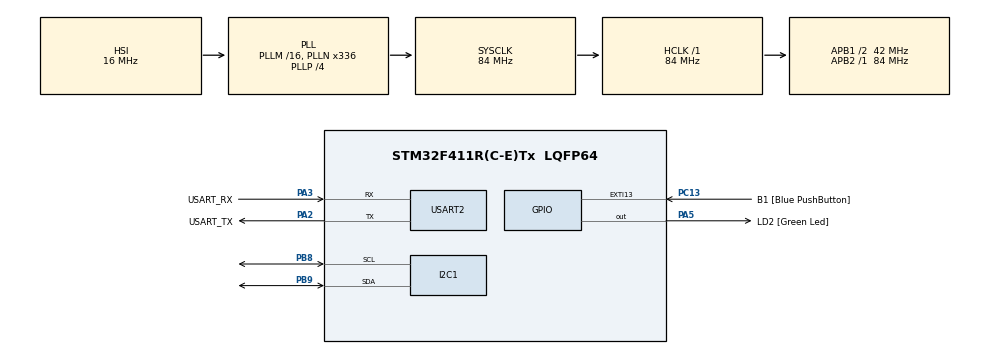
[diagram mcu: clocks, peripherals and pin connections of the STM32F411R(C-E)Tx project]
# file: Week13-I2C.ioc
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I2C1.I2C_Mode=I2C_Fast
Mcu.Family=STM32F4
Mcu.Name=STM32F411R(C-E)Tx
Mcu.Package=LQFP64
NVIC.I2C1_ER_IRQn=true\:0\:0\:false\:false\:true\:true\:true
NVIC.I2C1_EV_IRQn=true\:0\:0\:false\:false\:true\:true\:true
NVIC.PriorityGroup=NVIC_PRIORITYGROUP_0
PA13.GPIO_Label=TMS
PA13.Mode=Serial_Wire
PA13.Signal=SYS_JTMS-SWDIO
PA14.GPIO_Label=TCK
PA14.Mode=Serial_Wire
PA14.Signal=SYS_JTCK-SWCLK
PA2.GPIO_Label=USART_TX
PA2.Mode=Asynchronous
PA2.Signal=USART2_TX
PA3.GPIO_Label=USART_RX
PA3.Mode=Asynchronous
PA3.Signal=USART2_RX
PA5.GPIO_Label=LD2 [Green Led]
PA5.Signal=GPIO_Output
PB3.GPIO_Label=SWO
PB3.Signal=SYS_JTDO-SWO
PB8.Mode=I2C
PB8.Signal=I2C1_SCL
PB9.Mode=I2C
PB9.Signal=I2C1_SDA
PC13-ANTI_TAMP.GPIO_Label=B1 [Blue PushButton]
PC13-ANTI_TAMP.GPIO_ModeDefaultEXTI=GPIO_MODE_IT_FALLING
PC13-ANTI_TAMP.Signal=GPXTI13
PC14-OSC32_IN.Mode=LSE-External-Oscillator
PC14-OSC32_IN.Signal=RCC_OSC32_IN
PC15-OSC32_OUT.Mode=LSE-External-Oscillator
PC15-OSC32_OUT.Signal=RCC_OSC32_OUT
PH0\ -\ OSC_IN.Mode=HSE-External-Clock-Source
PH0\ -\ OSC_IN.Signal=RCC_OSC_IN
PH1\ -\ OSC_OUT.Mode=HSE-External-Clock-Source
PH1\ -\ OSC_OUT.Signal=RCC_OSC_OUT
ProjectManager.HeapSize=0x200
ProjectManager.StackSize=0x400
ProjectManager.TargetToolchain=STM32CubeIDE
RCC.48MHZClocksFreq_Value=84000000
RCC.AHBFreq_Value=84000000
RCC.APB1CLKDivider=RCC_HCLK_DIV2
RCC.APB1Freq_Value=42000000
RCC.APB1TimFreq_Value=84000000
RCC.APB2Freq_Value=84000000
RCC.APB2TimFreq_Value=84000000
RCC.CortexFreq_Value=84000000
RCC.FLatency-AdvancedSettings=FLASH_LATENCY_2
RCC.HCLKFreq_Value=84000000
RCC.HSE_VALUE=8000000
RCC.HSI_VALUE=16000000
RCC.PLLN=336
RCC.PLLP=RCC_PLLP_DIV4
RCC.SYSCLKFreq_VALUE=84000000
RCC.SYSCLKSource=RCC_SYSCLKSOURCE_PLLCLK
RCC.VCOOutputFreq_Value=336000000
USART2.VirtualMode=VM_ASYNC
board=NUCLEO-F411RE

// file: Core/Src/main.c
/* USER CODE BEGIN Header */
/**
 ******************************************************************************
 * @file           : main.c
 * @brief          : Main program body
 ******************************************************************************
 * @attention
 *
 * <h2><center>&copy; Copyright (c) 2021 STMicroelectronics.
 * All rights reserved.</center></h2>
 *
 * This software component is licensed by ST under BSD 3-Clause license,
 * the "License"; You may not use this file except in compliance with the
 * License. You may obtain a copy of the License at:
 *                        opensource.org/licenses/BSD-3-Clause
 *
 ******************************************************************************
 */
/* USER CODE END Header */
#include "main.h"

/* USER CODE BEGIN PD */
#define EEPROM_ADDR 0b10100000
#define IOEXPD_ADDR 0b01000000
/* USER CODE END PD */

I2C_HandleTypeDef hi2c1;

UART_HandleTypeDef huart2;

/* USER CODE BEGIN PV */
uint8_t eepromExampleWriteFlag = 0;
uint8_t eepromExampleReadFlag = 0;
uint8_t IOExpdrExampleWriteFlag = 1;
uint8_t IOExpdrExampleReadFlag = 0;
uint8_t eepromDataReadBack[4];
uint8_t IOExpdrDataReadBack;
GPIO_PinState Switchz[1];
uint8_t IOExpdrDataWrite = 0b01010101;
/* USER CODE END PV */

void SystemClock_Config(void);
static void MX_GPIO_Init(void);
static void MX_USART2_UART_Init(void);
static void MX_I2C1_Init(void);
/* USER CODE BEGIN PFP */
void EEPROMWriteExample();
void EEPROMReadExample(uint8_t *Rdata, uint16_t len);

void IOExpenderInit();
void IOExpenderReadPinA(uint8_t *Rdata);
void IOExpenderWritePinB(uint8_t Wdata);

/* USER CODE END PFP */

int main(void)
{

  /* MCU Configuration--------------------------------------------------------*/

  /* Reset of all peripherals, Initializes the Flash interface and the Systick. */
  HAL_Init();

  /* Configure the system clock */
  SystemClock_Config();

  /* Initialize all configured peripherals */
  MX_GPIO_Init();
  MX_USART2_UART_Init();
  MX_I2C1_Init();
  /* USER CODE BEGIN 2 */
  HAL_Delay(100);
  IOExpenderInit();

  HAL_I2C_Mem_Read_IT(&hi2c1, EEPROM_ADDR, 0x47, I2C_MEMADD_SIZE_16BIT,
  									&IOExpdrDataWrite, 1);

  HAL_Delay(100);

  EEPROMReadExample(&IOExpdrDataWrite, 1);

  /* USER CODE END 2 */

  /* Infinite loop */
  /* USER CODE BEGIN WHILE */

	while (1) {
		Switchz[0] = HAL_GPIO_ReadPin(B1_GPIO_Port, B1_Pin);
		if(Switchz[0]== GPIO_PIN_RESET && Switchz[1]== GPIO_PIN_SET){
			IOExpdrExampleReadFlag = 1;
			eepromExampleWriteFlag = 1;
			IOExpdrExampleWriteFlag = 1;
			eepromExampleReadFlag = 1;
		}
		IOExpenderReadPinA(&IOExpdrDataReadBack);
		HAL_Delay(100);

		EEPROMWriteExample();
		HAL_Delay(100);

		EEPROMReadExample(&IOExpdrDataWrite, 1);
		HAL_Delay(100);
		IOExpenderWritePinB(IOExpdrDataWrite);
		Switchz[1] = Switchz[0];
    /* USER CODE END WHILE */

	}
}

void SystemClock_Config(void)
{
  RCC_OscInitTypeDef RCC_OscInitStruct = {0};
  RCC_ClkInitTypeDef RCC_ClkInitStruct = {0};

  /** Configure the main internal regulator output voltage
  */
  __HAL_RCC_PWR_CLK_ENABLE();
  __HAL_PWR_VOLTAGESCALING_CONFIG(PWR_REGULATOR_VOLTAGE_SCALE1);
  /** Initializes the RCC Oscillators according to the specified parameters
  * in the RCC_OscInitTypeDef structure.
  */
  RCC_OscInitStruct.OscillatorType = RCC_OSCILLATORTYPE_HSI;
  RCC_OscInitStruct.HSIState = RCC_HSI_ON;
  RCC_OscInitStruct.HSICalibrationValue = RCC_HSICALIBRATION_DEFAULT;
  RCC_OscInitStruct.PLL.PLLState = RCC_PLL_ON;
  RCC_OscInitStruct.PLL.PLLSource = RCC_PLLSOURCE_HSI;
  RCC_OscInitStruct.PLL.PLLM = 16;
  RCC_OscInitStruct.PLL.PLLN = 336;
  RCC_OscInitStruct.PLL.PLLP = RCC_PLLP_DIV4;
  RCC_OscInitStruct.PLL.PLLQ = 4;
  if (HAL_RCC_OscConfig(&RCC_OscInitStruct) != HAL_OK)
  {
    Error_Handler();
  }
  /** Initializes the CPU, AHB and APB buses clocks
  */
  RCC_ClkInitStruct.ClockType = RCC_CLOCKTYPE_HCLK|RCC_CLOCKTYPE_SYSCLK
                              |RCC_CLOCKTYPE_PCLK1|RCC_CLOCKTYPE_PCLK2;
  RCC_ClkInitStruct.SYSCLKSource = RCC_SYSCLKSOURCE_PLLCLK;
  RCC_ClkInitStruct.AHBCLKDivider = RCC_SYSCLK_DIV1;
  RCC_ClkInitStruct.APB1CLKDivider = RCC_HCLK_DIV2;
  RCC_ClkInitStruct.APB2CLKDivider = RCC_HCLK_DIV1;

  if (HAL_RCC_ClockConfig(&RCC_ClkInitStruct, FLASH_LATENCY_2) != HAL_OK)
  {
    Error_Handler();
  }
}

static void MX_I2C1_Init(void)
{

  hi2c1.Instance = I2C1;
  hi2c1.Init.ClockSpeed = 400000;
  hi2c1.Init.DutyCycle = I2C_DUTYCYCLE_2;
  hi2c1.Init.OwnAddress1 = 0;
  hi2c1.Init.AddressingMode = I2C_ADDRESSINGMODE_7BIT;
  hi2c1.Init.DualAddressMode = I2C_DUALADDRESS_DISABLE;
  hi2c1.Init.OwnAddress2 = 0;
  hi2c1.Init.GeneralCallMode = I2C_GENERALCALL_DISABLE;
  hi2c1.Init.NoStretchMode = I2C_NOSTRETCH_DISABLE;
  if (HAL_I2C_Init(&hi2c1) != HAL_OK)
  {
    Error_Handler();
  }

}

static void MX_USART2_UART_Init(void)
{

  huart2.Instance = USART2;
  huart2.Init.BaudRate = 115200;
  huart2.Init.WordLength = UART_WORDLENGTH_8B;
  huart2.Init.StopBits = UART_STOPBITS_1;
  huart2.Init.Parity = UART_PARITY_NONE;
  huart2.Init.Mode = UART_MODE_TX_RX;
  huart2.Init.HwFlowCtl = UART_HWCONTROL_NONE;
  huart2.Init.OverSampling = UART_OVERSAMPLING_16;
  if (HAL_UART_Init(&huart2) != HAL_OK)
  {
    Error_Handler();
  }

}

static void MX_GPIO_Init(void)
{
  GPIO_InitTypeDef GPIO_InitStruct = {0};

  /* GPIO Ports Clock Enable */
  __HAL_RCC_GPIOC_CLK_ENABLE();
  __HAL_RCC_GPIOH_CLK_ENABLE();
  __HAL_RCC_GPIOA_CLK_ENABLE();
  __HAL_RCC_GPIOB_CLK_ENABLE();

  /*Configure GPIO pin Output Level */
  HAL_GPIO_WritePin(LD2_GPIO_Port, LD2_Pin, GPIO_PIN_RESET);

  /*Configure GPIO pin : B1_Pin */
  GPIO_InitStruct.Pin = B1_Pin;
  GPIO_InitStruct.Mode = GPIO_MODE_IT_FALLING;
  GPIO_InitStruct.Pull = GPIO_NOPULL;
  HAL_GPIO_Init(B1_GPIO_Port, &GPIO_InitStruct);

  /*Configure GPIO pin : LD2_Pin */
  GPIO_InitStruct.Pin = LD2_Pin;
  GPIO_InitStruct.Mode = GPIO_MODE_OUTPUT_PP;
  GPIO_InitStruct.Pull = GPIO_NOPULL;
  GPIO_InitStruct.Speed = GPIO_SPEED_FREQ_LOW;
  HAL_GPIO_Init(LD2_GPIO_Port, &GPIO_InitStruct);

}

/* USER CODE BEGIN 4 */

void EEPROMWriteExample() {
	if (eepromExampleWriteFlag && hi2c1.State == HAL_I2C_STATE_READY) {
		HAL_I2C_Mem_Write_IT(&hi2c1, EEPROM_ADDR, 0x47, I2C_MEMADD_SIZE_16BIT,
				&IOExpdrDataReadBack, 1);

		eepromExampleWriteFlag = 0;
	}
}
void EEPROMReadExample(uint8_t *Rdata, uint16_t len) {
	if (eepromExampleReadFlag && hi2c1.State == HAL_I2C_STATE_READY) {

		HAL_I2C_Mem_Read_IT(&hi2c1, EEPROM_ADDR, 0x47, I2C_MEMADD_SIZE_16BIT,
				Rdata, len);
		eepromExampleReadFlag = 0;
		HAL_Delay(10);
	}
}
void IOExpenderInit() {
	//Init All
	static uint8_t Setting[0x16] = { 0xFF, 0x00, 0x00, 0x00, 0x00, 0x00, 0x00,
			0x00, 0x00, 0x00, 0x00, 0x00, 0xFF, 0x00, 0x00, 0x00, 0x00, 0x00,
			0x00, 0x00, 0x00, 0x00 };
	HAL_I2C_Mem_Write(&hi2c1, IOEXPD_ADDR, 0x00, I2C_MEMADD_SIZE_8BIT, Setting,
			0x16, 100);
}
void IOExpenderReadPinA(uint8_t *Rdata) {
	if (IOExpdrExampleReadFlag && hi2c1.State == HAL_I2C_STATE_READY) {
		HAL_I2C_Mem_Read_IT(&hi2c1, IOEXPD_ADDR, 0x12, I2C_MEMADD_SIZE_8BIT,
				Rdata, 1);
		IOExpdrExampleReadFlag =0;
	}
}
void IOExpenderWritePinB(uint8_t Wdata) {
	if (IOExpdrExampleWriteFlag && hi2c1.State == HAL_I2C_STATE_READY) {
		static uint8_t data;
		data = Wdata;
		HAL_I2C_Mem_Write_IT(&hi2c1, IOEXPD_ADDR, 0x15, I2C_MEMADD_SIZE_8BIT,
				&data, 1);
		IOExpdrExampleWriteFlag=0;
	}
}
/* USER CODE END 4 */

void Error_Handler(void)
{
	__disable_irq();
	while (1) {
	}
}

/************************ (C) COPYRIGHT STMicroelectronics *****END OF FILE****/
